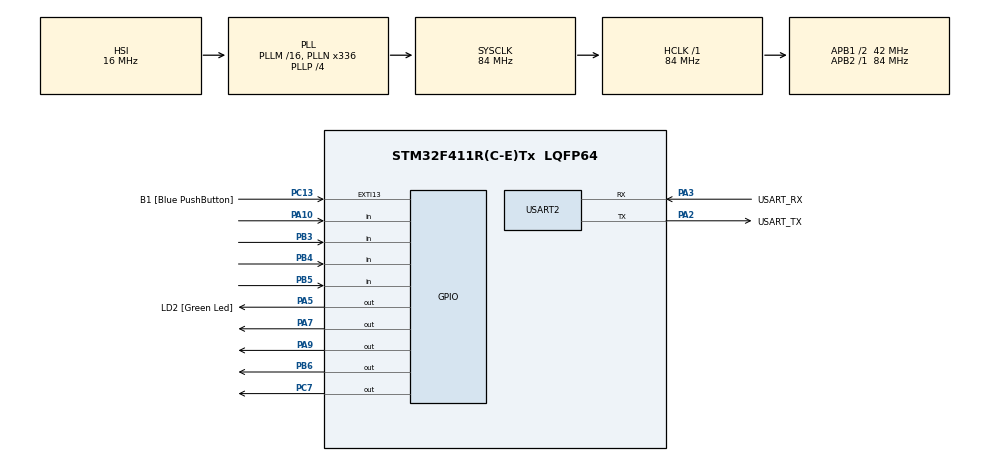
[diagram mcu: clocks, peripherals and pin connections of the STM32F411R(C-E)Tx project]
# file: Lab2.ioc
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Mcu.Family=STM32F4
Mcu.Name=STM32F411R(C-E)Tx
Mcu.Package=LQFP64
NVIC.PriorityGroup=NVIC_PRIORITYGROUP_0
PA10.GPIO_PuPd=GPIO_PULLUP
PA10.Signal=GPIO_Input
PA13.GPIO_Label=TMS
PA13.Mode=Serial_Wire
PA13.Signal=SYS_JTMS-SWDIO
PA14.GPIO_Label=TCK
PA14.Mode=Serial_Wire
PA14.Signal=SYS_JTCK-SWCLK
PA2.GPIO_Label=USART_TX
PA2.Mode=Asynchronous
PA2.Signal=USART2_TX
PA3.GPIO_Label=USART_RX
PA3.Mode=Asynchronous
PA3.Signal=USART2_RX
PA5.GPIO_Label=LD2 [Green Led]
PA5.Signal=GPIO_Output
PA7.GPIO_ModeDefaultOutputPP=GPIO_MODE_OUTPUT_OD
PA7.PinState=GPIO_PIN_SET
PA7.Signal=GPIO_Output
PA9.GPIO_ModeDefaultOutputPP=GPIO_MODE_OUTPUT_OD
PA9.PinState=GPIO_PIN_SET
PA9.Signal=GPIO_Output
PB3.GPIO_PuPd=GPIO_PULLUP
PB3.Signal=GPIO_Input
PB4.GPIO_PuPd=GPIO_PULLUP
PB4.Signal=GPIO_Input
PB5.GPIO_PuPd=GPIO_PULLUP
PB5.Signal=GPIO_Input
PB6.GPIO_ModeDefaultOutputPP=GPIO_MODE_OUTPUT_OD
PB6.PinState=GPIO_PIN_SET
PB6.Signal=GPIO_Output
PC13-ANTI_TAMP.GPIO_Label=B1 [Blue PushButton]
PC13-ANTI_TAMP.GPIO_ModeDefaultEXTI=GPIO_MODE_IT_FALLING
PC13-ANTI_TAMP.Signal=GPXTI13
PC14-OSC32_IN.Mode=LSE-External-Oscillator
PC14-OSC32_IN.Signal=RCC_OSC32_IN
PC15-OSC32_OUT.Mode=LSE-External-Oscillator
PC15-OSC32_OUT.Signal=RCC_OSC32_OUT
PC7.GPIO_ModeDefaultOutputPP=GPIO_MODE_OUTPUT_OD
PC7.PinState=GPIO_PIN_SET
PC7.Signal=GPIO_Output
PH0\ -\ OSC_IN.Mode=HSE-External-Clock-Source
PH0\ -\ OSC_IN.Signal=RCC_OSC_IN
PH1\ -\ OSC_OUT.Mode=HSE-External-Clock-Source
PH1\ -\ OSC_OUT.Signal=RCC_OSC_OUT
ProjectManager.HeapSize=0x200
ProjectManager.StackSize=0x400
ProjectManager.TargetToolchain=STM32CubeIDE
RCC.48MHZClocksFreq_Value=84000000
RCC.AHBFreq_Value=84000000
RCC.APB1CLKDivider=RCC_HCLK_DIV2
RCC.APB1Freq_Value=42000000
RCC.APB1TimFreq_Value=84000000
RCC.APB2Freq_Value=84000000
RCC.APB2TimFreq_Value=84000000
RCC.CortexFreq_Value=84000000
RCC.FLatency-AdvancedSettings=FLASH_LATENCY_2
RCC.HCLKFreq_Value=84000000
RCC.HSE_VALUE=8000000
RCC.HSI_VALUE=16000000
RCC.PLLN=336
RCC.PLLP=RCC_PLLP_DIV4
RCC.SYSCLKFreq_VALUE=84000000
RCC.SYSCLKSource=RCC_SYSCLKSOURCE_PLLCLK
RCC.VCOOutputFreq_Value=336000000
USART2.VirtualMode=VM_ASYNC
board=NUCLEO-F411RE

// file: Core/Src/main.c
/* USER CODE BEGIN Header */
/**
  ******************************************************************************
  * @file           : main.c
  * @brief          : Main program body
  ******************************************************************************
  * @attention
  *
  * <h2><center>&copy; Copyright (c) 2021 STMicroelectronics.
  * All rights reserved.</center></h2>
  *
  * This software component is licensed by ST under BSD 3-Clause license,
  * the "License"; You may not use this file except in compliance with the
  * License. You may obtain a copy of the License at:
  *                        opensource.org/licenses/BSD-3-Clause
  *
  ******************************************************************************
  */
/* USER CODE END Header */
#include "main.h"

UART_HandleTypeDef huart2;

/* USER CODE BEGIN PV */
//private variable
//save status of Button Matrix
uint16_t ButtonMatrixState = 0;
uint16_t ButtonState[2]={0};

//Button TimeStamp
uint32_t ButtonMatrixTimestamp = 0;

//state machine
  enum _StateStudentNumber
  {
  	StateNumber_Start = 0,
  	StateNumber_first_6,
  	StateNumber_second_2,
  	StateNumber_third_3,
  	StateNumber_fourth_4,
  	StateNumber_fifth_0,
  	StateNumber_sixth_5,
  	StateNumber_seventh_0,
  	StateNumber_eighth_0,
  	StateNumber_nineth_0,
  	StateNumber_tenth_2,
  	StateNumber_eleventh_0,
  	StateNumber_OK,
  	//StateNumber_clear,
  	StateNumber_wrong
  };

  uint8_t STATE_NUMBER = 0;

  uint16_t LED1_HalfPeriod = 500; // 1Hz
  uint32_t TimeStamp = 0;
  uint8_t on = 0;

/* USER CODE END PV */

void SystemClock_Config(void);
static void MX_GPIO_Init(void);
static void MX_USART2_UART_Init(void);
/* USER CODE BEGIN PFP */
//private function prototype
//scan and update data of Button Matrix
void ButtonMatrixUpdate();
/* USER CODE END PFP */

int main(void)
{

  /* MCU Configuration--------------------------------------------------------*/

  /* Reset of all peripherals, Initializes the Flash interface and the Systick. */
  HAL_Init();

  /* Configure the system clock */
  SystemClock_Config();

  /* Initialize all configured peripherals */
  MX_GPIO_Init();
  MX_USART2_UART_Init();

  /* Infinite loop */
  while (1)
  {

    /* USER CODE BEGIN 3 */
	  //function button
	  ButtonMatrixUpdate();
	  ButtonState[0] = ButtonMatrixState;
	  if (ButtonState[0]!= 0b0 && ButtonState[1]== 0b0)
	  {
		  switch (STATE_NUMBER)
		  	  {
		  	  	  case StateNumber_Start:
		  	  		  switch (ButtonMatrixState)
		  	  		  {
		  	  		  	  case 0b1000000: //press 6
		  	  		  		  on = 1;
		  	  		  		  STATE_NUMBER = StateNumber_first_6;
		  	  		  		  break;
		  	  		  	  case 0b1000: //press clear
		  	  		  		  on = 1;
		  	  		  		  STATE_NUMBER = StateNumber_Start;
		  	  		  		  break;
		  	  		  	  case 0b1000000000000000: //press ok
		  	  		  		  on = 1;
		  	  		  		  STATE_NUMBER = StateNumber_Start;
		  	  		  		  break;
		  	  		  	  default : //press others
		  	  		  		  on = 1;
		  	  		  		  STATE_NUMBER = StateNumber_wrong;
		  	  		  		  break;
		  	  		  }
		  	  		  break;

		  	  	  case StateNumber_first_6:
		  	  		  switch (ButtonMatrixState)
		  	  		  {
		  	  		  	  case 0b1000000000: //press 2
		  	  		  		  on = 1;
		  	  		  		  STATE_NUMBER = StateNumber_second_2;
		  	  		  		  break;
		  	  		  	  case 0b1000: //press clear
		  	  		  		  on = 1;
		  	  		  		  STATE_NUMBER = StateNumber_Start;
		  	  		  		  break;
		  	  		  	  default : //press others
		  	  		  		  on = 1;
		  	  		  		  STATE_NUMBER = StateNumber_wrong;
		  	  		  		  break;
		  	  		  }
		  	  		  break;

		  	  	case StateNumber_second_2:
		  	  		switch (ButtonMatrixState)
		  	  		{
		  	  			case 0b10000000000: //press 3
		  	  				on = 1;
		  	  				STATE_NUMBER = StateNumber_third_3;
		  	  				break;
		  	  			case 0b1000: //press clear
		  	  				on = 1;
		  	  				STATE_NUMBER = StateNumber_Start;
		  	  				break;
		  	  			default : //press others
		  	  				on = 1;
		  	  				STATE_NUMBER = StateNumber_wrong;
		  	  				break;
		  	  		}
		  	  		break;

		  	  	case StateNumber_third_3:
		  	  		switch (ButtonMatrixState)
		  	  		{
		  	  			case 0b10000: //press 4
		  	  				on = 1;
		  	  				STATE_NUMBER = StateNumber_fourth_4;
		  	  				break;
		  	  			case 0b1000: //press clear
		  	  				on = 1;
		  	  				STATE_NUMBER = StateNumber_Start;
		  	  				break;
		  	  			default : //press others
		  	  				on = 1;
		  	  				STATE_NUMBER = StateNumber_wrong;
		  	  				break;
		  	  		}
		  	  		break;

		  	  	case StateNumber_fourth_4:
		  	  		switch (ButtonMatrixState)
		  	  		{
		  	  			case 0b1000000000000: //press 0
		  	  				on = 1;
		  	  				STATE_NUMBER = StateNumber_fifth_0;
		  	  				break;
		  	  			case 0b1000: //press clear
		  	  				on = 1;
		  	  				STATE_NUMBER = StateNumber_Start;
		  	  				break;
		  	  			default : //press others
		  	  				on = 1;
		  	  				STATE_NUMBER = StateNumber_wrong;
		  	  				break;
		  	  		}
		  	  		break;

		  	  	case StateNumber_fifth_0:
		  	  		switch (ButtonMatrixState)
		  	  		{
		  	  			case 0b100000: //press 5
		  	  				on = 1;
		  	  				STATE_NUMBER = StateNumber_sixth_5;
		  	  				break;
		  	  			case 0b1000: //press clear
		  	  				on = 1;
		  	  				STATE_NUMBER = StateNumber_Start;
		  	  				break;
		  	  			default : //press others
		  	  				on = 1;
		  	  				STATE_NUMBER = StateNumber_wrong;
		  	  				break;
		  	  		}
		  	  		break;

		  	  	case StateNumber_sixth_5:
		  	  		switch (ButtonMatrixState)
		  	  		{
		  	  			case 0b1000000000000: //press 0
		  	  				on = 1;
		  	  				STATE_NUMBER = StateNumber_seventh_0;
		  	  				break;
		  	  			case 0b1000: //press clear
		  	  				on = 1;
		  	  				STATE_NUMBER = StateNumber_Start;
		  	  				break;
		  	  			default : //press others
		  	  				on = 1;
		  	  				STATE_NUMBER = StateNumber_wrong;
		  	  				break;
		  	  		}
		  	  		break;

		  	  	case StateNumber_seventh_0:
		  	  		switch (ButtonMatrixState)
		  	  		{
		  	  			case 0b1000000000000: //press 0
		  	  				on = 1;
		  	  				STATE_NUMBER = StateNumber_eighth_0;
		  	  				break;
		  	  			case 0b1000: //press clear
		  	  				on = 1;
		  	  				STATE_NUMBER = StateNumber_Start;
		  	  				break;
		  	  			default : //press others
		  	  				on = 1;
		  	  				STATE_NUMBER = StateNumber_wrong;
		  	  				break;
		  	  		}
		  	  		break;

		  	  	case StateNumber_eighth_0:
		  	  		switch (ButtonMatrixState)
		  	  		{
		  	  			case 0b1000000000000: //press 0
		  	  				on = 1;
		  	  				STATE_NUMBER = StateNumber_nineth_0;
		  	  				break;
		  	  			case 0b1000: //press clear
		  	  				on = 1;
		  	  				STATE_NUMBER = StateNumber_Start;
		  	  				break;
		  	  			default : //press other
		  	  				on = 1;
		  	  				STATE_NUMBER = StateNumber_wrong;
		  	  				break;
		  	  		}
		  	  		break;

		  	  	case StateNumber_nineth_0:
		  	  		switch (ButtonMatrixState)
		  	  		{
		  	  			case 0b1000000000: //press 2
		  	  				on =1;
		  	  				STATE_NUMBER = StateNumber_tenth_2;
		  	  				break;
		  	  			case 0b1000: //press clear
		  	  				on = 1;
		  	  				STATE_NUMBER = StateNumber_Start;
		  	  				break;
		  	  			default : //press others
		  	  				on =1;
		  	  				STATE_NUMBER = StateNumber_wrong;
		  	  				break;
		  	  		}
		  	  		break;

		  	  	case StateNumber_tenth_2:
		  	  		switch (ButtonMatrixState)
		  	  		{
		  	  			case 0b1000000000000: //press 0
		  	  				on = 1;
		  	  				STATE_NUMBER = StateNumber_eleventh_0;
		  	  				break;
		  	  			case 0b1000: //press clear
		  	  				on = 1;
		  	  				STATE_NUMBER = StateNumber_Start;
		  	  				break;
		  	  			default : //press others
		  	  				on = 1;
		  	  				STATE_NUMBER = StateNumber_wrong;
		  	  				break;
		  	  		}
		  	  		break;

		  	  	case StateNumber_eleventh_0:
		  	  		switch (ButtonMatrixState)
		  	  		{
		  	  			case 0b1000000000000000: //press ok
		  	  				HAL_GPIO_WritePin(GPIOA, GPIO_PIN_5, GPIO_PIN_SET);
		  	  				STATE_NUMBER = StateNumber_OK;
		  	  				break;
		  	  			case 0b1000: //press clear
		  	  				on = 1;
		  	  				STATE_NUMBER = StateNumber_Start;
		  	  				break;
		  	  			default : //press others
		  	  				on =1;
		  	  				STATE_NUMBER = StateNumber_wrong;
		  	  				break;
		  	  		}
		  	  		break;

		  	  	case StateNumber_OK:
		  	  		switch (ButtonMatrixState)
		  	  		{
		  	  			case 0b1000: //press clear
		  	  				HAL_GPIO_WritePin(GPIOA, GPIO_PIN_5, GPIO_PIN_RESET);
		  	  				STATE_NUMBER = StateNumber_Start;
		  	  				break;
		  	  			default : //press others
		  	  				STATE_NUMBER = StateNumber_wrong;
		  	  				break;
		  	  		}
		  	  		break;

		  	  							  	  //case StateNumber_clear:
		  	  							  		  //HAL_GPIO_WritePin(GPIOA, GPIO_PIN_5, GPIO_PIN_RESET);
		  	  							  		  //STATE_NUMBER = StateNumber_Start;
		  	  							  		  //break;

		  	  	case StateNumber_wrong:
		  	  		switch (ButtonMatrixState)
		  	  		{
		  	  			case 0b1000: //press clear
		  	  				HAL_GPIO_WritePin(GPIOA, GPIO_PIN_5, GPIO_PIN_RESET);
		  	  				STATE_NUMBER = StateNumber_Start;
		  	  				break;
		  	  			default : //press others
		  	  				STATE_NUMBER = StateNumber_wrong;
		  	  				break;
		  	  		}
		  	  		break;

		  	}
	  }
	  ButtonState[1] = ButtonState[0];

  }
  /* USER CODE END 3 */
}

void SystemClock_Config(void)
{
  RCC_OscInitTypeDef RCC_OscInitStruct = {0};
  RCC_ClkInitTypeDef RCC_ClkInitStruct = {0};

  /** Configure the main internal regulator output voltage
  */
  __HAL_RCC_PWR_CLK_ENABLE();
  __HAL_PWR_VOLTAGESCALING_CONFIG(PWR_REGULATOR_VOLTAGE_SCALE1);
  /** Initializes the RCC Oscillators according to the specified parameters
  * in the RCC_OscInitTypeDef structure.
  */
  RCC_OscInitStruct.OscillatorType = RCC_OSCILLATORTYPE_HSI;
  RCC_OscInitStruct.HSIState = RCC_HSI_ON;
  RCC_OscInitStruct.HSICalibrationValue = RCC_HSICALIBRATION_DEFAULT;
  RCC_OscInitStruct.PLL.PLLState = RCC_PLL_ON;
  RCC_OscInitStruct.PLL.PLLSource = RCC_PLLSOURCE_HSI;
  RCC_OscInitStruct.PLL.PLLM = 16;
  RCC_OscInitStruct.PLL.PLLN = 336;
  RCC_OscInitStruct.PLL.PLLP = RCC_PLLP_DIV4;
  RCC_OscInitStruct.PLL.PLLQ = 4;
  if (HAL_RCC_OscConfig(&RCC_OscInitStruct) != HAL_OK)
  {
    Error_Handler();
  }
  /** Initializes the CPU, AHB and APB buses clocks
  */
  RCC_ClkInitStruct.ClockType = RCC_CLOCKTYPE_HCLK|RCC_CLOCKTYPE_SYSCLK
                              |RCC_CLOCKTYPE_PCLK1|RCC_CLOCKTYPE_PCLK2;
  RCC_ClkInitStruct.SYSCLKSource = RCC_SYSCLKSOURCE_PLLCLK;
  RCC_ClkInitStruct.AHBCLKDivider = RCC_SYSCLK_DIV1;
  RCC_ClkInitStruct.APB1CLKDivider = RCC_HCLK_DIV2;
  RCC_ClkInitStruct.APB2CLKDivider = RCC_HCLK_DIV1;

  if (HAL_RCC_ClockConfig(&RCC_ClkInitStruct, FLASH_LATENCY_2) != HAL_OK)
  {
    Error_Handler();
  }
}

static void MX_USART2_UART_Init(void)
{

  huart2.Instance = USART2;
  huart2.Init.BaudRate = 115200;
  huart2.Init.WordLength = UART_WORDLENGTH_8B;
  huart2.Init.StopBits = UART_STOPBITS_1;
  huart2.Init.Parity = UART_PARITY_NONE;
  huart2.Init.Mode = UART_MODE_TX_RX;
  huart2.Init.HwFlowCtl = UART_HWCONTROL_NONE;
  huart2.Init.OverSampling = UART_OVERSAMPLING_16;
  if (HAL_UART_Init(&huart2) != HAL_OK)
  {
    Error_Handler();
  }

}

static void MX_GPIO_Init(void)
{
  GPIO_InitTypeDef GPIO_InitStruct = {0};

  /* GPIO Ports Clock Enable */
  __HAL_RCC_GPIOC_CLK_ENABLE();
  __HAL_RCC_GPIOH_CLK_ENABLE();
  __HAL_RCC_GPIOA_CLK_ENABLE();
  __HAL_RCC_GPIOB_CLK_ENABLE();

  /*Configure GPIO pin Output Level */
  HAL_GPIO_WritePin(LD2_GPIO_Port, LD2_Pin, GPIO_PIN_RESET);

  /*Configure GPIO pin Output Level */
  HAL_GPIO_WritePin(GPIOA, GPIO_PIN_7|GPIO_PIN_9, GPIO_PIN_SET);

  /*Configure GPIO pin Output Level */
  HAL_GPIO_WritePin(GPIOC, GPIO_PIN_7, GPIO_PIN_SET);

  /*Configure GPIO pin Output Level */
  HAL_GPIO_WritePin(GPIOB, GPIO_PIN_6, GPIO_PIN_SET);

  /*Configure GPIO pin : B1_Pin */
  GPIO_InitStruct.Pin = B1_Pin;
  GPIO_InitStruct.Mode = GPIO_MODE_IT_FALLING;
  GPIO_InitStruct.Pull = GPIO_NOPULL;
  HAL_GPIO_Init(B1_GPIO_Port, &GPIO_InitStruct);

  /*Configure GPIO pin : LD2_Pin */
  GPIO_InitStruct.Pin = LD2_Pin;
  GPIO_InitStruct.Mode = GPIO_MODE_OUTPUT_PP;
  GPIO_InitStruct.Pull = GPIO_NOPULL;
  GPIO_InitStruct.Speed = GPIO_SPEED_FREQ_LOW;
  HAL_GPIO_Init(LD2_GPIO_Port, &GPIO_InitStruct);

  /*Configure GPIO pins : PA7 PA9 */
  GPIO_InitStruct.Pin = GPIO_PIN_7|GPIO_PIN_9;
  GPIO_InitStruct.Mode = GPIO_MODE_OUTPUT_OD;
  GPIO_InitStruct.Pull = GPIO_NOPULL;
  GPIO_InitStruct.Speed = GPIO_SPEED_FREQ_LOW;
  HAL_GPIO_Init(GPIOA, &GPIO_InitStruct);

  /*Configure GPIO pin : PC7 */
  GPIO_InitStruct.Pin = GPIO_PIN_7;
  GPIO_InitStruct.Mode = GPIO_MODE_OUTPUT_OD;
  GPIO_InitStruct.Pull = GPIO_NOPULL;
  GPIO_InitStruct.Speed = GPIO_SPEED_FREQ_LOW;
  HAL_GPIO_Init(GPIOC, &GPIO_InitStruct);

  /*Configure GPIO pin : PA10 */
  GPIO_InitStruct.Pin = GPIO_PIN_10;
  GPIO_InitStruct.Mode = GPIO_MODE_INPUT;
  GPIO_InitStruct.Pull = GPIO_PULLUP;
  HAL_GPIO_Init(GPIOA, &GPIO_InitStruct);

  /*Configure GPIO pins : PB3 PB4 PB5 */
  GPIO_InitStruct.Pin = GPIO_PIN_3|GPIO_PIN_4|GPIO_PIN_5;
  GPIO_InitStruct.Mode = GPIO_MODE_INPUT;
  GPIO_InitStruct.Pull = GPIO_PULLUP;
  HAL_GPIO_Init(GPIOB, &GPIO_InitStruct);

  /*Configure GPIO pin : PB6 */
  GPIO_InitStruct.Pin = GPIO_PIN_6;
  GPIO_InitStruct.Mode = GPIO_MODE_OUTPUT_OD;
  GPIO_InitStruct.Pull = GPIO_NOPULL;
  GPIO_InitStruct.Speed = GPIO_SPEED_FREQ_LOW;
  HAL_GPIO_Init(GPIOB, &GPIO_InitStruct);

}

/* USER CODE BEGIN 4 */
//write function
//port/pin array, 4-7 output , 0-3 input
GPIO_TypeDef *ButtonMatrixPort[8] =
{GPIOA, GPIOB, GPIOB, GPIOB, GPIOA, GPIOC, GPIOB, GPIOA};
uint16_t ButtonMatrixPin[8] =
{GPIO_PIN_10, GPIO_PIN_3, GPIO_PIN_5, GPIO_PIN_4,GPIO_PIN_9,GPIO_PIN_7,
		GPIO_PIN_6,GPIO_PIN_7};

uint8_t ButtonMatrixRow = 0; //what R Now

void ButtonMatrixUpdate()
{
	if (HAL_GetTick() - ButtonMatrixTimestamp >= 100)
	{
		ButtonMatrixTimestamp = HAL_GetTick();
		int i;
		for (i = 0; i<4; ++i) //i++ , i+=1
		{ //0-3
			GPIO_PinState PinState = HAL_GPIO_ReadPin(ButtonMatrixPort[i],
					ButtonMatrixPin[i]);
			if (PinState == GPIO_PIN_RESET) // Button Press
			{
				ButtonMatrixState |= (uint16_t)0x1 << (i + ButtonMatrixRow * 4); //0x1 = 1

			}
			else
			{
				ButtonMatrixState &= ~((uint16_t)0x1 << (i + ButtonMatrixRow * 4));
			}
		}

		uint8_t NowOutputPin = ButtonMatrixRow+4;
		//SET Rn
		HAL_GPIO_WritePin(ButtonMatrixPort[NowOutputPin],
				ButtonMatrixPin[NowOutputPin], GPIO_PIN_SET);

		ButtonMatrixRow = (ButtonMatrixRow + 1) % 4; //update new row

		uint8_t NextOutputPin = ButtonMatrixRow + 4;
		//Reset Rn+1
		HAL_GPIO_WritePin(ButtonMatrixPort[NextOutputPin],
				ButtonMatrixPin[NextOutputPin], GPIO_PIN_RESET);

		//run LED
		if (HAL_GetTick()-TimeStamp >= LED1_HalfPeriod && on==1)
		{
			TimeStamp = HAL_GetTick();
			if(HAL_GPIO_ReadPin(GPIOA, GPIO_PIN_5)==GPIO_PIN_RESET)
			{
				HAL_GPIO_WritePin(GPIOA, GPIO_PIN_5, GPIO_PIN_SET);
			}
			else
			{
				HAL_GPIO_WritePin(GPIOA, GPIO_PIN_5, GPIO_PIN_RESET);
				on = 0;
			}
		}

	}
}
/* USER CODE END 4 */

void Error_Handler(void)
{
  __disable_irq();
  while (1)
  {
  }
}

/************************ (C) COPYRIGHT STMicroelectronics *****END OF FILE****/
